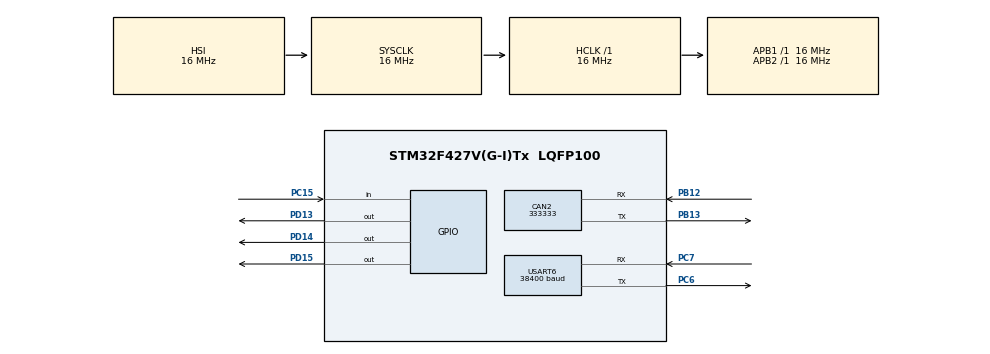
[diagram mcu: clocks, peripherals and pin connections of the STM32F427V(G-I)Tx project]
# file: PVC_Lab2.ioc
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CAN2.CalculateBaudRate=333333
CAN2.CalculateTimeBit=3000
CAN2.CalculateTimeQuantum=1000.0
Mcu.Family=STM32F4
Mcu.Name=STM32F427V(G-I)Tx
Mcu.Package=LQFP100
NVIC.PriorityGroup=NVIC_PRIORITYGROUP_4
NVIC.USART6_IRQn=true\:0\:0\:false\:false\:true\:true\:true\:true
PA13.Mode=JTAG_5_pins
PA13.Signal=SYS_JTMS-SWDIO
PA14.Mode=JTAG_5_pins
PA14.Signal=SYS_JTCK-SWCLK
PA15.Mode=JTAG_5_pins
PA15.Signal=SYS_JTDI
PB12.Mode=CAN_Activate
PB12.Signal=CAN2_RX
PB13.Mode=CAN_Activate
PB13.Signal=CAN2_TX
PB3.Mode=JTAG_5_pins
PB3.Signal=SYS_JTDO-SWO
PB4.Mode=JTAG_5_pins
PB4.Signal=SYS_JTRST
PC15/OSC32_OUT.Signal=GPIO_Input
PC6.Mode=Asynchronous
PC6.Signal=USART6_TX
PC7.Mode=Asynchronous
PC7.Signal=USART6_RX
PD13.GPIO_ModeDefaultOutputPP=GPIO_MODE_OUTPUT_PP
PD13.GPIO_PuPd=GPIO_NOPULL
PD13.PinState=GPIO_PIN_RESET
PD13.Signal=GPIO_Output
PD14.Signal=GPIO_Output
PD15.Signal=GPIO_Output
ProjectManager.HeapSize=0x200
ProjectManager.StackSize=0x400
ProjectManager.TargetToolchain=STM32CubeIDE
RCC.AHBFreq_Value=16000000
RCC.APB1Freq_Value=16000000
RCC.APB2Freq_Value=16000000
RCC.CortexFreq_Value=16000000
RCC.HSE_VALUE=25000000
RCC.HSI_VALUE=16000000
RCC.LSE_VALUE=32768
RCC.SYSCLKFreq_VALUE=16000000
RCC.VCOOutputFreq_Value=192000000
USART6.BaudRate=38400
USART6.VirtualMode=VM_ASYNC
board=custom

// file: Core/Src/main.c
/* USER CODE BEGIN Header */
/**
  ******************************************************************************
  * @file           : main.c
  * @brief          : Main program body
  ******************************************************************************
  * @attention
  *
  * Copyright (c) 2024 STMicroelectronics.
  * All rights reserved.
  *
  * This software is licensed under terms that can be found in the LICENSE file
  * in the root directory of this software component.
  * If no LICENSE file comes with this software, it is provided AS-IS.
  *
  ******************************************************************************
  */
/* USER CODE END Header */
#include "main.h"
#include "can.h"
#include "usart.h"
#include "gpio.h"

void SystemClock_Config(void);

/* USER CODE BEGIN 0 */

// 防抖相关变量
uint32_t last_button_press_time = 0;
uint8_t isButtonEnabled = 0;
uint8_t didUpdatedAtThatTime = 0;
const uint32_t debounce_delay = 10; // 防抖延迟（单位：毫秒）

uint8_t sparkling_mode = 0;

uint32_t last_sparking_time_1 = 0;
uint8_t sparkMode_1 = 0;
const uint32_t sparkling_delay_1 = 50; // 防抖延迟（单位：毫秒）
uint32_t last_sparking_time_2 = 0;
uint8_t sparkMode_2 = 0;
const uint32_t sparkling_delay_2 = 200; // 防抖延迟（单位：毫秒）
uint32_t last_sparking_time_3 = 0;
uint8_t sparkMode_3 = 0;
const uint32_t sparkling_delay_3 = 800; // 防抖延迟（单位：毫秒）

const uint32_t sparkling_delay_low = 200;

const uint32_t sparkling_delay_medium = 600;

const uint32_t sparkling_delay_high = 1000;

uint8_t sparkMode_0 = 0;
uint32_t last_sparking_time_0 = 0;

char spark_order_5[10];
uint32_t sparkling_delay_5;

char spark_order_6[10];
uint32_t sparkling_delay_6;

char spark_order_7[10];
uint32_t sparkling_delay_7;

char spark_order_8[10];
uint32_t sparkling_delay_8;

uint8_t count_new_mode = 0;

void Check_Button(void) {
	uint32_t current_time = HAL_GetTick();
	if (HAL_GPIO_ReadPin(GPIOC, GPIO_PIN_15) != isButtonEnabled) {
		isButtonEnabled = HAL_GPIO_ReadPin(GPIOC, GPIO_PIN_15);
		last_button_press_time = current_time;
		didUpdatedAtThatTime = 0;
	} else {
		if (current_time - last_button_press_time > debounce_delay && HAL_GPIO_ReadPin(GPIOC, GPIO_PIN_15) && didUpdatedAtThatTime == 0) {
			sparkling_mode = (sparkling_mode + 1) % 8;
			didUpdatedAtThatTime = 1;
		}
	}
}

void Spark(void) {
	uint32_t current_time = HAL_GetTick();

	if (sparkling_mode == 0) {
		mode_0();
	}
	if (sparkling_mode == 1) {
		mode_1(current_time);
	}
	if (sparkling_mode == 2) {
		mode_2(current_time);
	}
	if (sparkling_mode == 3) {
		mode_3(current_time);
	}
	if (sparkling_mode == 4) {
		mode(current_time, spark_order_5, sparkling_delay_5);
	}
	if (sparkling_mode == 5) {
		mode(current_time, spark_order_6, sparkling_delay_6);
	}
	if (sparkling_mode == 6) {
		mode(current_time, spark_order_7, sparkling_delay_7);
	}
	if (sparkling_mode == 7) {
		mode(current_time, spark_order_8, sparkling_delay_8);
	}
}

void mode(uint32_t current_time, char *order, uint32_t delay) {
	HAL_GPIO_WritePin(GPIOD, GPIO_PIN_15, GPIO_PIN_RESET);
	HAL_GPIO_WritePin(GPIOD, GPIO_PIN_14, GPIO_PIN_RESET);
	HAL_GPIO_WritePin(GPIOD, GPIO_PIN_13, GPIO_PIN_RESET);

	if (current_time - last_sparking_time_0 > delay){
		sparkMode_0 = (sparkMode_0 + 1) % strlen(order);
		last_sparking_time_0 = current_time;
	}

	if (order[sparkMode_0] == 'g') {
		HAL_GPIO_WritePin(GPIOD, GPIO_PIN_15, GPIO_PIN_RESET);
		HAL_GPIO_WritePin(GPIOD, GPIO_PIN_14, GPIO_PIN_RESET);
		HAL_GPIO_WritePin(GPIOD, GPIO_PIN_13, GPIO_PIN_SET);
	}
	if (order[sparkMode_0] == 'y') {
		HAL_GPIO_WritePin(GPIOD, GPIO_PIN_15, GPIO_PIN_RESET);
		HAL_GPIO_WritePin(GPIOD, GPIO_PIN_14, GPIO_PIN_SET);
		HAL_GPIO_WritePin(GPIOD, GPIO_PIN_13, GPIO_PIN_RESET);
	}
	if (order[sparkMode_0] == 'r') {
		HAL_GPIO_WritePin(GPIOD, GPIO_PIN_15, GPIO_PIN_SET);
		HAL_GPIO_WritePin(GPIOD, GPIO_PIN_14, GPIO_PIN_RESET);
		HAL_GPIO_WritePin(GPIOD, GPIO_PIN_13, GPIO_PIN_RESET);
	}
	if (order[sparkMode_0] == 'n') {
		HAL_GPIO_WritePin(GPIOD, GPIO_PIN_15, GPIO_PIN_RESET);
		HAL_GPIO_WritePin(GPIOD, GPIO_PIN_14, GPIO_PIN_RESET);
		HAL_GPIO_WritePin(GPIOD, GPIO_PIN_13, GPIO_PIN_RESET);
	}
}

void mode_0(void) {
	HAL_GPIO_WritePin(GPIOD, GPIO_PIN_15, GPIO_PIN_RESET);
	HAL_GPIO_WritePin(GPIOD, GPIO_PIN_14, GPIO_PIN_SET);
	HAL_GPIO_WritePin(GPIOD, GPIO_PIN_13, GPIO_PIN_SET);
}

void mode_1(uint32_t current_time) {
	if (current_time - last_sparking_time_1 > sparkling_delay_1){
		sparkMode_1 = (sparkMode_1 + 1) % 2;
		last_sparking_time_1 = current_time;
	}

	if (sparkMode_1) {
		HAL_GPIO_WritePin(GPIOD, GPIO_PIN_15, GPIO_PIN_RESET);
		HAL_GPIO_WritePin(GPIOD, GPIO_PIN_14, GPIO_PIN_SET);
		HAL_GPIO_WritePin(GPIOD, GPIO_PIN_13, GPIO_PIN_RESET);
	} else {
		HAL_GPIO_WritePin(GPIOD, GPIO_PIN_15, GPIO_PIN_SET);
		HAL_GPIO_WritePin(GPIOD, GPIO_PIN_14, GPIO_PIN_RESET);
		HAL_GPIO_WritePin(GPIOD, GPIO_PIN_13, GPIO_PIN_SET);
	}
}

void mode_2(uint32_t current_time) {
	if (current_time - last_sparking_time_2 > sparkling_delay_2){
		sparkMode_2 = (sparkMode_2 + 1) % 2;
		last_sparking_time_2 = current_time;
	}

	if (sparkMode_2) {
		HAL_GPIO_WritePin(GPIOD, GPIO_PIN_15, GPIO_PIN_RESET);
		HAL_GPIO_WritePin(GPIOD, GPIO_PIN_14, GPIO_PIN_SET);
		HAL_GPIO_WritePin(GPIOD, GPIO_PIN_13, GPIO_PIN_SET);
	} else {
		HAL_GPIO_WritePin(GPIOD, GPIO_PIN_15, GPIO_PIN_SET);
		HAL_GPIO_WritePin(GPIOD, GPIO_PIN_14, GPIO_PIN_RESET);
		HAL_GPIO_WritePin(GPIOD, GPIO_PIN_13, GPIO_PIN_SET);
	}
}

void mode_3(uint32_t current_time) {
	if (current_time - last_sparking_time_3 > sparkling_delay_3){
		sparkMode_3 = (sparkMode_3 + 1) % 2;
		last_sparking_time_3 = current_time;
	}

	if (sparkMode_3) {
		HAL_GPIO_WritePin(GPIOD, GPIO_PIN_15, GPIO_PIN_RESET);
		HAL_GPIO_WritePin(GPIOD, GPIO_PIN_14, GPIO_PIN_SET);
		HAL_GPIO_WritePin(GPIOD, GPIO_PIN_13, GPIO_PIN_SET);
	} else {
		HAL_GPIO_WritePin(GPIOD, GPIO_PIN_15, GPIO_PIN_SET);
		HAL_GPIO_WritePin(GPIOD, GPIO_PIN_14, GPIO_PIN_RESET);
		HAL_GPIO_WritePin(GPIOD, GPIO_PIN_13, GPIO_PIN_RESET);
	}
}

void setmode(char *order, uint32_t delay) {
	count_new_mode = (count_new_mode + 1) % 4;

	if (count_new_mode == 1) {
		strcpy(spark_order_5, order);
		sparkling_delay_5 = delay;
	}
	if (count_new_mode == 2) {
		strcpy(spark_order_6, order);
		sparkling_delay_6 = delay;
	}
	if (count_new_mode == 3) {
		strcpy(spark_order_7, order);
		sparkling_delay_7 = delay;
	}
	if (count_new_mode == 0) {
		strcpy(spark_order_8, order);
		sparkling_delay_8 = delay;
	}
}

void process_command(char *cmd, int *index) {
	//sprintf(cmd, "%s", cmd);
	HAL_UART_Transmit( &huart6, (uint8_t *) cmd, strlen(cmd), 10);
	HAL_UART_Transmit( &huart6, (uint8_t *) "\r\n", 2, 10);

	char *command;
	command = strtok(cmd, " ");
//	HAL_UART_Transmit( &huart6, (uint8_t *) command, strlen(command), 10);
//	HAL_UART_Transmit( &huart6, (uint8_t *) "\r\n", 2, 10);
	char *args;
	args= strtok(NULL, "");
//	HAL_UART_Transmit( &huart6, (uint8_t *) args, strlen(args), 10);
//	HAL_UART_Transmit( &huart6, (uint8_t *) "\r\n", 2, 10);

	if (strcmp(command, "set")==0) {
		if (strcmp(args, "1")==0) {
			sparkling_mode = 0;
		}
		if (strcmp(args, "2")==0) {
			sparkling_mode = 1;
		}
		if (strcmp(args, "3")==0) {
			sparkling_mode = 2;
		}
		if (strcmp(args, "4")==0) {
			sparkling_mode = 3;
		}
		if (strcmp(args, "5")==0) {
			sparkling_mode = 4;
		}
		if (strcmp(args, "6")==0) {
			sparkling_mode = 5;
		}
		if (strcmp(args, "7")==0) {
			sparkling_mode = 6;
		}
		if (strcmp(args, "8")==0) {
			sparkling_mode = 7;
		}

	}
	if (strcmp(command, "new")==0) {
		char msg[] = "Please choose spark delay:\n1 - low(200)\n2 - medium(600)\n3 - high(1000)\n";
		HAL_UART_Transmit( &huart6, (uint8_t *) msg, strlen(msg), 100);

		char index = 0;
		while (index != '\r') {
			if( HAL_OK == HAL_UART_Receive( &huart6, (uint8_t *) &index, 1, 1 ) ) {
     			HAL_UART_Transmit( &huart6, (uint8_t *) &index, 1, 10 );
				HAL_UART_Transmit( &huart6, (uint8_t *) "\r\n", 2, 10);
				if (index == '1') {
					setmode(args, sparkling_delay_low);
				}
				if (index == '2') {
					setmode(args, sparkling_delay_medium);
				}
				if (index == '3') {
					setmode(args, sparkling_delay_high);
				}
			}
		}
	}
	return;
}

uint8_t count_char(char *buffer) {
	int count = 0;
	for(int i = 0; i < sizeof(buffer); i++) {
		if (buffer[i]!='\0') {
			count++;
		} else {
			break;
		}
	}
	return count;
}

/* USER CODE END 0 */

int main(void)
{

  /* MCU Configuration--------------------------------------------------------*/

  /* Reset of all peripherals, Initializes the Flash interface and the Systick. */
  HAL_Init();

  /* Configure the system clock */
  SystemClock_Config();

  /* Initialize all configured peripherals */
  MX_GPIO_Init();
  MX_CAN2_Init();
  MX_USART6_UART_Init();

  /* Infinite loop */
  /* USER CODE BEGIN WHILE */

  int index = 0;
  char c;
  char buffer[32];

  while (1)
  {
//	  HAL_UART_Transmit( &huart6, (uint8_t *)s, sizeof( s ), 10);
//	  HAL_Delay( 1000 );

	  Check_Button();
	  Spark();

	  if( HAL_OK == HAL_UART_Receive( &huart6, (uint8_t *) &c, 1, 1 ) )
	  {
		  if (c == '\r') {

			  buffer[index] = '\0';
			  HAL_UART_Transmit( &huart6, (uint8_t *) "\r\n", 2, 10);
			  //HAL_UART_Transmit( &huart6, (uint8_t *) buffer, index, 10);
			  process_command(buffer, index);
			  //HAL_UART_Transmit( &huart6, (uint8_t *) "\r\n", 2, 10);
			  index = 0;
			  memset(buffer, '\0', sizeof(buffer));

		  } else if (c != '\n') {
			  HAL_UART_Transmit( &huart6, (uint8_t *) &c, 1, 10 );
		  	  buffer[index++] = c;
		  }
	  }

    /* USER CODE END WHILE */

  }
}

void SystemClock_Config(void)
{
  RCC_OscInitTypeDef RCC_OscInitStruct = {0};
  RCC_ClkInitTypeDef RCC_ClkInitStruct = {0};

  /** Configure the main internal regulator output voltage
  */
  __HAL_RCC_PWR_CLK_ENABLE();
  __HAL_PWR_VOLTAGESCALING_CONFIG(PWR_REGULATOR_VOLTAGE_SCALE3);

  /** Initializes the RCC Oscillators according to the specified parameters
  * in the RCC_OscInitTypeDef structure.
  */
  RCC_OscInitStruct.OscillatorType = RCC_OSCILLATORTYPE_HSI;
  RCC_OscInitStruct.HSIState = RCC_HSI_ON;
  RCC_OscInitStruct.HSICalibrationValue = RCC_HSICALIBRATION_DEFAULT;
  RCC_OscInitStruct.PLL.PLLState = RCC_PLL_NONE;
  if (HAL_RCC_OscConfig(&RCC_OscInitStruct) != HAL_OK)
  {
    Error_Handler();
  }

  /** Initializes the CPU, AHB and APB buses clocks
  */
  RCC_ClkInitStruct.ClockType = RCC_CLOCKTYPE_HCLK|RCC_CLOCKTYPE_SYSCLK
                              |RCC_CLOCKTYPE_PCLK1|RCC_CLOCKTYPE_PCLK2;
  RCC_ClkInitStruct.SYSCLKSource = RCC_SYSCLKSOURCE_HSI;
  RCC_ClkInitStruct.AHBCLKDivider = RCC_SYSCLK_DIV1;
  RCC_ClkInitStruct.APB1CLKDivider = RCC_HCLK_DIV1;
  RCC_ClkInitStruct.APB2CLKDivider = RCC_HCLK_DIV1;

  if (HAL_RCC_ClockConfig(&RCC_ClkInitStruct, FLASH_LATENCY_0) != HAL_OK)
  {
    Error_Handler();
  }
}

void Error_Handler(void)
{
  __disable_irq();
  while (1)
  {
  }
}
